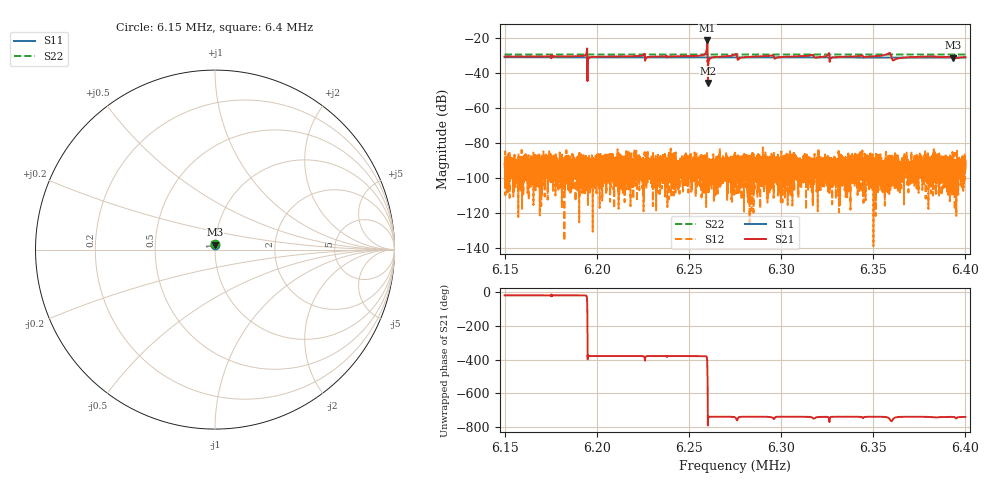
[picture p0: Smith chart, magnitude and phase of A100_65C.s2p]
!CETC41,AV3656A,ZGL00048,1.3.2
!Calibration ON (Full Solt 2-Port(Omit Isolation))
!Measurements: S11 S21 S12 S22
!2025-04-18 23:38
# Hz  S  dB  R 50.000
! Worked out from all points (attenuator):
!   6401 points, 6.15 MHz to 6.4 MHz, reference 50 ohm
!   highest |S21| = -21.50 dB at 6.26 MHz (marker M1); lowest = -45.7 dB at 6.2603 MHz (marker M2)
!   lowest |S11| = -31.3 dB at 6.3934 MHz (marker M3), VSWR 1.06, Z = 49.9 + j2.72 ohm
!   |S11| at or under -10 dB: start of sweep to end of sweep
!   |S22| runs from -29.5 to -29.5 dB; largest |S21 - S12| = 0.084
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6150000  -31.08 84.3  -30.66 -17.8  -91.98 47.9  -29.50 91.7
6191680  -31.12 85.4  -30.38 -17.9  -102.52 53.0  -29.50 92.6
6193633  -31.12 85.4  -29.94 -18.0  -88.29 17.8  -29.50 92.7
6196172  -31.13 85.5  -31.20 -18.0  -95.81 54.4  -29.50 92.7
6233359  -31.15 86.4  -30.66 -17.9  -93.61 138.2  -29.50 93.5
6255625  -31.18 86.9  -30.20 -18.1  -91.22 143.9  -29.52 94.0
6257969  -31.16 86.9  -29.73 -18.3  -93.61 21.1  -29.51 94.0
6258906  -31.18 87.0  -29.01 -18.5  -97.94 53.2  -29.51 94.0
6260000  -31.18 87.0  -21.50 -77.3  -102.17 165.2  -29.50 94.1
6260313  -31.18 87.0  -45.74 -14.0  -90.58 -138.5  -29.50 94.1
6261445  -31.18 87.0  -31.85 -18.3  -98.07 -148.4  -29.51 94.0
6263359  -31.18 87.0  -31.08 -18.0  -96.61 43.4  -29.51 94.1
6275000  -31.19 87.3  -29.51 -21.6  -100.62 90.6  -29.52 94.3
6277422  -31.19 87.4  -31.73 -19.7  -86.47 45.1  -29.51 94.4
6316680  -31.19 88.3  -29.75 -21.6  -107.97 133.2  -29.52 95.1
6319258  -31.20 88.3  -31.21 -21.4  -107.67 113.0  -29.52 95.2
6324922  -31.20 88.5  -30.29 -18.8  -93.29 -17.3  -29.52 95.4
6327500  -31.21 88.6  -31.39 -19.0  -89.39 -160.0  -29.52 95.4
6358359  -31.26 89.3  -28.87 -25.8  -88.98 60.3  -29.53 96.1
6361406  -31.27 89.4  -32.61 -25.3  -98.68 -134.1  -29.53 96.2
6393398  -31.31 90.1  -30.55 -19.3  -88.30 50.7  -29.53 96.9
6400000  -31.29 90.3  -31.01 -19.3  -95.67 90.3  -29.54 96.9
